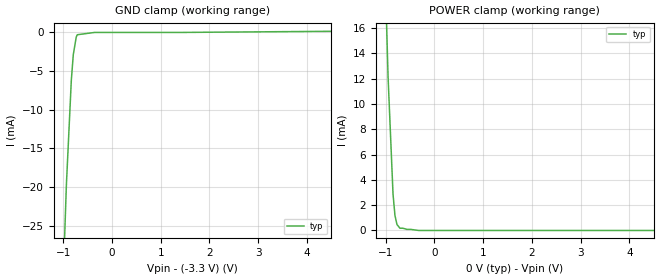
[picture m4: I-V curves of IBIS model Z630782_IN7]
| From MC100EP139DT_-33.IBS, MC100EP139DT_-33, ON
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| (C) COPYRIGHT 1993-2000
| MENTOR GRAPHICS CORPORATION
| ICX STANDARD LIBRARY, ICX PROJECT MODELING,
| ICX CUSTOM MODELING, ICX VENDOR MODEL
| ALL RIGHTS RESERVED.
| THE FOLLOWING ARE TRADEMARKS OR SERVICE MARKS OF
| MENTOR GRAPHICS CORPORATION:ICX (R), ICX STANDARD
| LIBRARY(R), ICX PROJECT MODELING(R), ICX CUSTOM
| MODELING(R), qualityIBIS(TM), MODELVIEWER(TM),
| AND MODELEDITOR(TM)
| ALL COPIES OF SOFTWARE, INCLUDING BUT NOT LIMITED TO
| ANY MODIFICATIONS, ENHANCEMENTS OR DERIVATIVE WORKS,
| MUST CONTAIN ALL MENTOR GRAPHICS CORPORATION'S
| NOTICES AND LEGENDS, INCLUDING THOSE EMBEDDED IN
| SOFTWARE AND THOSE AFFIXED TO SOFTWARE MEDIUM
| AND CONTAINER, AS RECEIVED FROM MENTOR GRAPHICS
| CORPORATION.
| Model Application Version 1.89 2/18/99.
[Model] Z630782_IN7
Model_type Input_ECL
Vinl = -1.642V
Vinh = -1.022V
C_comp 3.000pF NA NA
| variable typ   min   max
[Voltage Range] -3.300V NA NA
[GND Clamp Reference] -3.300V NA NA
[POWER Clamp Reference] 0.000V NA NA
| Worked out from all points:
|   GND clamp passes 1 mA (typ) near -0.74 V on its own axis
|   POWER clamp passes 1 mA (typ) near -0.80 V on its own axis
[GND Clamp]
-3.3V     -560.4mA   NA         NA
-1.058V   -42.5mA    NA         NA
-936mV    -19.7mA    NA         NA
-835mV    -6.2mA     NA         NA
-795mV    -2.9mA     NA         NA
-734mV    -600uA     NA         NA
-713mV    -300uA     NA         NA
-356.5mV  0A         NA         NA
1.425V    0A         NA         NA
6.6V      249uA      NA         NA
[POWER Clamp]
-3.3V     411.8mA    NA         NA
-1.054V   25.96mA    NA         NA
-953mV    12.16mA    NA         NA
-851mV    2.869mA    NA         NA
-811mV    1.171mA    NA         NA
-770mV    472.7uA    NA         NA
-709.5mV  178.5uA    NA         NA
-649mV    178.5uA    NA         NA
-567.5mV  86.38uA    NA         NA
-486mV    86.38uA    NA         NA
-324mV    0A         NA         NA
6.6V      0A         NA         NA
